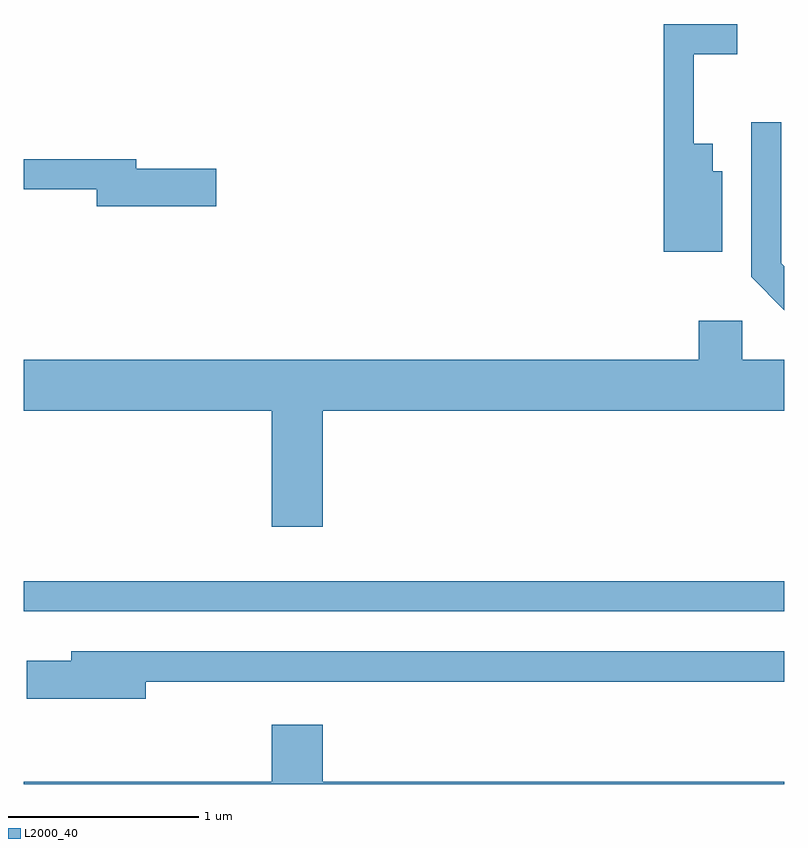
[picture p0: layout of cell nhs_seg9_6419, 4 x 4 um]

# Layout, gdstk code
import gdstk
lib = gdstk.Library(unit=1e-6, precision=1e-09)
def R(c, l, rs):  # rectangles x0, y0, x1, y1
    for r in rs: c.add(gdstk.rectangle(r[:2], r[2:], *l))
def P(c, l, *ps):  # polygons
    for p in ps: c.add(gdstk.Polygon(p, *l))
L2000_40 = (2000, 40)

nhs_seg9_6419 = lib.new_cell('nhs_seg9_6419')
R(nhs_seg9_6419, L2000_40, [(373.611,2077.341,377.611,2077.499)])
P(nhs_seg9_6419, L2000_40, [(377.284,2079.654),(377.234,2079.654),(377.234,2079.799),(377.134,2079.799),(377.134,2080.271),(377.363,2080.271),(377.363,2080.429),(376.976,2080.429),(376.976,2079.231),(377.284,2079.231)],
  [(377.611,2079.155),(377.594,2079.172),(377.594,2079.913),(377.436,2079.913),(377.436,2079.099),(377.611,2078.924)],
  [(374.624,2079.669),(374.204,2079.669),(374.204,2079.719),(373.611,2079.719),(373.611,2079.561),(373.996,2079.561),(373.996,2079.471),(374.624,2079.471)],
  [(375.184,2078.396),(377.611,2078.396),(377.611,2078.664),(377.389,2078.664),(377.389,2078.869),(377.161,2078.869),(377.161,2078.664),(373.611,2078.664),(373.611,2078.396),(374.916,2078.396),(374.916,2077.786),(375.184,2077.786)],
  [(374.254,2076.971),(377.611,2076.971),(377.611,2077.129),(373.861,2077.129),(373.861,2077.079),(373.626,2077.079),(373.626,2076.881),(374.254,2076.881)],
  [(377.611,2076.444),(375.184,2076.444),(375.184,2076.744),(374.916,2076.744),(374.916,2076.444),(373.611,2076.444),(373.611,2076.432),(377.611,2076.432)])

lib.write_gds('nhs_seg9_6419.gds')
